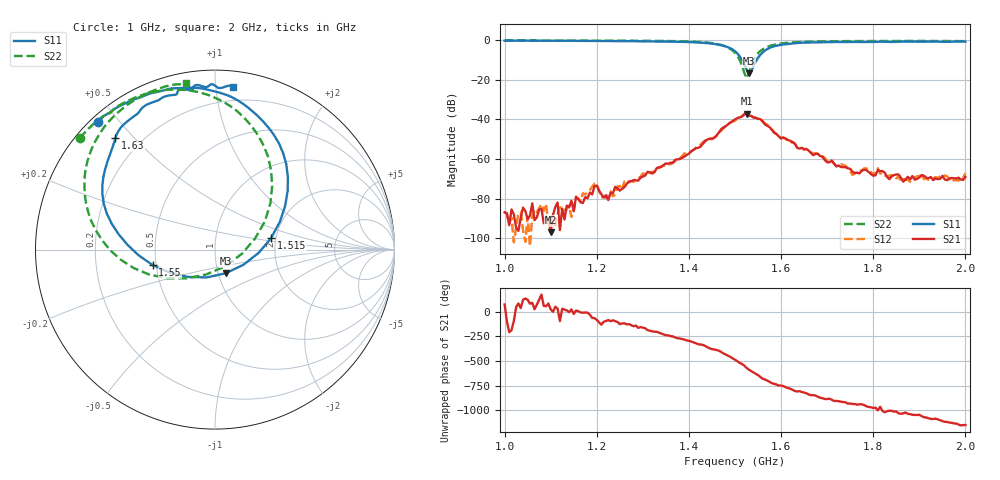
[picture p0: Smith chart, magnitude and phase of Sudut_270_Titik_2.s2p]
# Hz S RI R 50
! CMT, C1220, 16058040, 17.2.0/1
! Date: 14/08/2018 12:49:01
! Data: Format (Calibration Info)
! Freq  S11: Re/Im (F2)  S21: Re/Im (F2)  S12: Re/Im (F2)  S22: Re/Im (F2)
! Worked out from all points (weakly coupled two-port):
!   201 points, 1 GHz to 2 GHz, reference 50 ohm
!   highest |S21| = -37.06 dB at 1.525 GHz (marker M1); lowest = -97.0 dB at 1.1 GHz (marker M2)
!   lowest |S11| = -16.8 dB at 1.53 GHz (marker M3), VSWR 1.34, Z = 54.4 - j14.6 ohm
!   |S11| at or under -10 dB: 1.515 GHz to 1.547 GHz (32.09 MHz wide, 2.1 % of centre)
!   |S22| runs from -19.2 to -0.2 dB; largest |S21 - S12| = 0.00058
!   S11 on the Smith chart (normalised r, x): 1 GHz: 0.02, +0.44; 1.515 GHz: 1.88, +0.27; 1.55 GHz: 0.48, -0.09; 1.63 GHz: 0.11, +0.44; 2 GHz: 0.10, +1.11
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1e9  -0.6521 0.7131  1.35e-05 4.35e-05  -3.8e-05 2.67e-05  -0.7539 0.6215
1.1e9  -0.5603 0.7836  1.3e-05 5.62e-06  -8.84e-06 3.46e-05  -0.6819 0.6958
1.17e9  -0.4818 0.824  7.72e-05 -1.42e-05  0.000119 -6.89e-05  -0.6184 0.7467
1.2e9  -0.4399 0.8405  2.41e-05 -0.000215  8.55e-05 -0.000217  -0.585 0.76
1.21e9  -0.4304 0.8434  -8.82e-05 -9.69e-05  -5.64e-05 -8.96e-05  -0.5807 0.764
1.235e9  -0.3908 0.8583  4.92e-06 -0.000137  -4.86e-05 -0.000105  -0.5573 0.7882
1.26e9  -0.3514 0.8729  -9.01e-05 -0.000174  -0.00013 -0.000239  -0.5255 0.8083
1.335e9  -0.2198 0.8985  -0.00052 0.00034  -0.000449 0.000391  -0.404 0.8617
1.45e9  0.182 0.7929  0.00302 -0.00111  0.00307 -0.00136  0.0188 0.8373
1.5e9  0.4051 0.3296  -0.00604 -0.00794  -0.00571 -0.00747  0.3184 0.3538
1.515e9  0.3127 0.0642  -0.0117 -0.00195  -0.0118 -0.00224  0.2227 0.061
1.525e9  0.1588 -0.0844  -0.0122 0.00687  -0.0124 0.00683  0.0561 -0.0937
1.53e9  0.0607 -0.1314  -0.00832 0.00918  -0.00847 0.00919  -0.0505 -0.1391
1.55e9  -0.3472 -0.0861  0.00246 0.0101  0.00204 0.0102  -0.4539 -0.1024
1.58e9  -0.6195 0.2547  0.0054 -0.000458  0.00558 -0.000648  -0.7068 0.21
1.63e9  -0.5553 0.621  0.000266 -0.00245  0.000364 -0.00239  -0.6953 0.5393
1.67e9  -0.4475 0.7451  -0.000747 -0.00101  -0.000793 -0.00112  -0.6277 0.668
1.755e9  -0.2803 0.8528  -0.000384 0.000283  -0.000312 0.00025  -0.493 0.8031
1.81e9  -0.1944 0.8919  9.95e-05 0.000521  6.26e-05 0.000583  -0.4153 0.8523
1.835e9  -0.1367 0.8874  7.56e-05 0.000302  0.000138 0.000353  -0.3815 0.8693
1.97e9  0.0554 0.9072  0.000231 -0.000243  0.000146 -0.000222  -0.1919 0.9209
2e9  0.101 0.9066  0.000126 -0.000332  0.000113 -0.000426  -0.1596 0.9299
